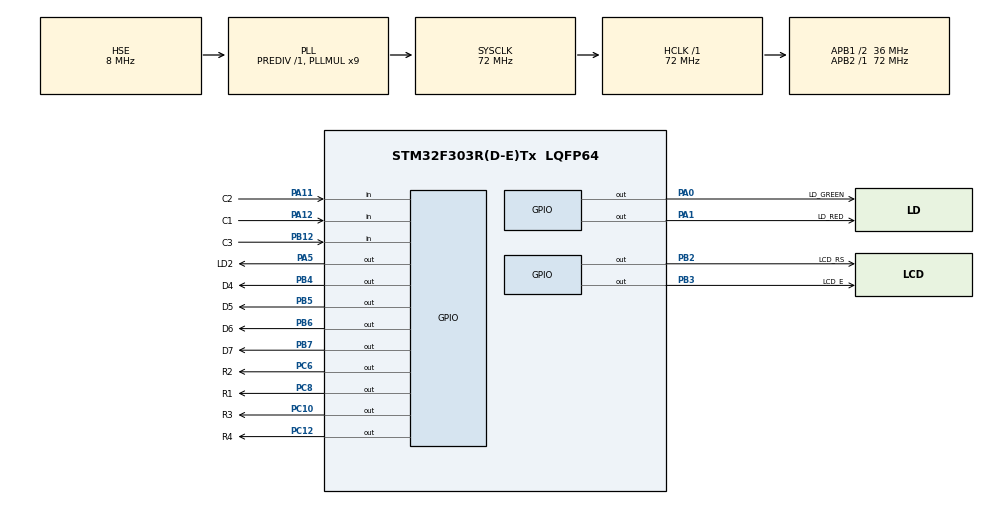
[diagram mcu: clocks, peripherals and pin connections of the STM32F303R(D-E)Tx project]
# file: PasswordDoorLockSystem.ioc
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Mcu.Family=STM32F3
RCC.CortexFreq_Value=72000000
PC10.Signal=GPIO_Output
PC12.Signal=GPIO_Output
RCC.SYSCLKSourceVirtual=RCC_SYSCLKSOURCE_PLLCLK
PA0.GPIO_Label=LD_GREEN
PC6.GPIO_Label=R2
PB6.GPIO_Label=D6
PC10.GPIO_Speed=GPIO_SPEED_FREQ_HIGH
PA11.GPIO_PuPd=GPIO_PULLDOWN
ProjectManager.StackSize=0x400
PA12.Signal=GPIO_Input
RCC.HCLKFreq_Value=72000000
RCC.APB2TimFreq_Value=72000000
PB6.Signal=GPIO_Output
PB5.PinState=GPIO_PIN_SET
RCC.AHBFreq_Value=72000000
RCC.HSE_VALUE=8000000
PB2.Signal=GPIO_Output
RCC.RCC_PLLsource_Clock_Source_FROM_HSE=RCC_HSE_PREDIV_DIV2
RCC.PLLMUL=RCC_PLL_MUL9
PB12.GPIO_Label=C3
PA14.Mode=Serial_Wire
PB7.Signal=GPIO_Output
PA0.Signal=GPIO_Output
PB7.PinState=GPIO_PIN_SET
PB7.GPIO_Label=D7
PC10.GPIO_ModeDefaultOutputPP=GPIO_MODE_OUTPUT_OD
Mcu.Package=LQFP64
RCC.EnbaleCSS=true
PC8.GPIO_ModeDefaultOutputPP=GPIO_MODE_OUTPUT_OD
PC8.GPIO_Speed=GPIO_SPEED_FREQ_HIGH
PB5.GPIO_Label=D5
RCC.APB1TimFreq_Value=72000000
PC12.GPIO_PuPd=GPIO_NOPULL
PA12.GPIO_PuPd=GPIO_PULLDOWN
PF1-OSC_OUT.Mode=HSE-External-Oscillator
PB4.PinState=GPIO_PIN_SET
PC6.GPIO_Speed=GPIO_SPEED_FREQ_HIGH
PF1-OSC_OUT.Signal=RCC_OSC_OUT
PC6.GPIO_ModeDefaultOutputPP=GPIO_MODE_OUTPUT_OD
PB4.Signal=GPIO_Output
PB3.GPIO_Label=LCD_E
RCC.PLLSourceVirtual=RCC_PLLSOURCE_HSE
PC10.GPIO_Label=R3
PC8.Signal=GPIO_Output
PC6.Signal=GPIO_Output
PA11.GPIO_Label=C2
PC12.GPIO_ModeDefaultOutputPP=GPIO_MODE_OUTPUT_OD
RCC.APB1CLKDivider=RCC_HCLK_DIV2
PA12.GPIO_Label=C1
PC8.GPIO_Label=R1
PA13.Signal=SYS_JTMS-SWDIO
ProjectManager.TargetToolchain=STM32CubeIDE
RCC.USBFreq_Value=72000000
RCC.LSE_VALUE=32768
PA1.Signal=GPIO_Output
PF0-OSC_IN.Mode=HSE-External-Oscillator
PA5.Signal=GPIO_Output
board=NUCLEO-F303RE
RCC.APB2Freq_Value=72000000
PB4.GPIO_Label=D4
PA1.GPIO_Label=LD_RED
PA13.Mode=Serial_Wire
Mcu.Name=STM32F303R(D-E)Tx
PB3.Signal=GPIO_Output
RCC.SYSCLKFreq_VALUE=72000000
PB5.Signal=GPIO_Output
PA5.GPIO_Label=LD2
PC12.GPIO_Label=R4
PB6.PinState=GPIO_PIN_SET
PA11.Signal=GPIO_Input
PA14.Signal=SYS_JTCK-SWCLK
PB2.GPIO_Label=LCD_RS
ProjectManager.HeapSize=0x200
RCC.HSI_VALUE=8000000
RCC.PLLP=RCC_PLLP_DIV4
RCC.PLLQ=7
NVIC.PriorityGroup=NVIC_PRIORITYGROUP_0
RCC.PLLM=8
RCC.PLLN=336
PF0-OSC_IN.Signal=RCC_OSC_IN
PB12.GPIO_PuPd=GPIO_PULLDOWN
RCC.APB1Freq_Value=36000000
PC12.GPIO_Speed=GPIO_SPEED_FREQ_HIGH
PB12.Signal=GPIO_Input

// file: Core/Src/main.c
/* USER CODE BEGIN Header */
/**
  ******************************************************************************
  * @file           : main.c
  * @brief          : Main program body
  ******************************************************************************
  * @attention
  *
  * <h2><center>&copy; Copyright (c) 2021 STMicroelectronics.
  * All rights reserved.</center></h2>
  *
  * This software component is licensed by ST under BSD 3-Clause license,
  * the "License"; You may not use this file except in compliance with the
  * License. You may obtain a copy of the License at:
  *                        opensource.org/licenses/BSD-3-Clause
  *
  ******************************************************************************
  */
/* USER CODE END Header */
#include "main.h"

/* USER CODE BEGIN Includes */
#include "stdio.h"
#include "stdlib.h"
#include "string.h"
/* USER CODE END Includes */

/* USER CODE BEGIN PD */

//Memory address that contains password & door lock state data
#define memory_address 0x0801FC00 //STM32303RE - Page 127

/* USER CODE END PD */

void SystemClock_Config(void);
static void MX_GPIO_Init(void);
/* USER CODE BEGIN PFP */

//8µs Delay Function
void delay_us ();

//LCD Functions
void InitLCD(void);
void lcd_init_write(unsigned char value);
void epulse(void);
void lcd_cmd(unsigned char cmd);
void lcd_write_data (char c);
void lcd_data(unsigned char row, unsigned char col, const char *data);

char keypad_scanner(void);

//Memory Operation Functions
void Flash_Erase(uint32_t address);
void Flash_Write(uint32_t address, uint16_t data);
uint16_t Flash_Read(uint32_t address);

/* USER CODE END PFP */

int main(void)
{

  /* MCU Configuration--------------------------------------------------------*/

  /* Reset of all peripherals, Initializes the Flash interface and the Systick. */
  HAL_Init();

  /* Configure the system clock */
  SystemClock_Config();

  /* Initialize all configured peripherals */
  MX_GPIO_Init();

  /* USER CODE BEGIN 2 */

  /* Variables */

  int door_state;
  int counter = 0;
  int pass_check = 0;
  int operation_check = 0;

  char key;
  char password [4];
  char password_temp[4];
  char* key_temp;

  uint16_t memory_data;

  InitLCD(); //LCD Initialization

  /* Starting Messages */

  lcd_data(1, 1, " PASSWORD  DOOR ");
  lcd_data(2, 1, " LOCK SYSTEM ");

  HAL_Delay(1000);

  lcd_data(1, 1, "  YETKIN AKYUZ  ");
  lcd_data(2, 1, "yetkinakyuz.com ");

  HAL_Delay(1000);

  lcd_data(1, 1, "                ");
  lcd_data(2, 1, "                ");

  HAL_Delay(500);

  /* First use check */

  //Get data from 0x0801FC08. This address contains door lock state data.
  memory_data = Flash_Read(memory_address + 8);
  door_state = memory_data;

  //If the memory address is empty (0xFFFF), the system is using for first time.
  //Defining a password is required.
  //This process works only once.
  if (door_state == 0xFFFF)
  {
	  while (1)
	  {
		  lcd_data(1, 1, "DEFINE YOUR ");
		  lcd_data(2, 1, "PASSWORD: ");

		  counter = 0;

		  while(1)
		  {
			  key = keypad_scanner(); //Get char from keypad.

			  //Write keypad inputs to password_temp variable until there are 4 character inputs from keypad.
			  if (counter <= 3 && key != 'n' && key != '#' && key != '*')
			  {
				  key_temp = key;
				  password_temp[counter] = key;

				  lcd_data(2, 11 + counter, &key_temp);
				  HAL_Delay(200);
				  lcd_data(2, 11 + counter, "*");

				  counter++;
			  }

			  //If input length is 4 and pressed the # button
			  else if (counter > 3 && key == '#')
			  {
				  counter = 0;

				  //Erase memory
				  Flash_Erase(memory_address);

				  //Write defined password to memory
				  for (int i = 0; i < 4; i++)
				  {
					  memory_data = (uint16_t *)password_temp[i];

					  Flash_Write(memory_address + i * 2, memory_data);
					  memory_data = Flash_Read(memory_address + i * 2);
					  password [i] = memory_data;
				  }

				  //Write door lock state to memory: (10) Door is open, (20) Door is locked.
				  Flash_Write(memory_address + 8, 10);

				  /* Done! */

				  HAL_GPIO_WritePin(GPIOA, LD_GREEN_Pin, 1);

				  lcd_data(1, 1, " DONE ");
				  lcd_data(2, 1, "PASSWORD: ");

				  //Print defined password, wait a second, print **** instead of the password.
				  for (int i = 0; i < 4; i++)
				  {
					  key_temp = password[i];
					  lcd_data(2, 11 + i, &key_temp);
				  }

				  HAL_Delay(1000);

				  for (int i = 0; i < 4; i++)
				  {
					  lcd_data(2, 11 + i, "*");
				  }

				  HAL_Delay(200);

				  HAL_GPIO_WritePin(GPIOA, LD_GREEN_Pin, 0);

				  break;
			  }
		  }

		  break;
	  }
  }

  /* USER CODE END 2 */

  /* Infinite loop */
  /* USER CODE BEGIN WHILE */
  while (1)
  {
	  lcd_data(1, 1, "                ");
	  lcd_data(2, 1, "                ");

	  /* If door is locked: (10) Door is open, (20) Door is locked. */

	  while (Flash_Read(memory_address + 8) == 20)
	  {
		  lcd_data(1, 1, "STATUS: LOCKED ");
		  lcd_data(2, 1, "PRESS ANY BUTTON");

		  //Wait till when any key on keypad is pressed.
		  while (keypad_scanner() == 'n');

		  //Till when door is opened.
		  while(Flash_Read(memory_address + 8) == 20)
		  {
			  lcd_data(1, 1, "STATUS: LOCKED ");
			  lcd_data(2, 1, "PASSWORD: ");
			  lcd_data(2, 10, " ");

			  while(1)
			  {
				  key = keypad_scanner(); //Get char from keypad.

				  if (counter <= 3 && key != '*' && key != '#' && key != 'n')
				  {
					  key_temp = key;

					  lcd_data(2, 11 + counter, &key_temp);

					  HAL_Delay(200);

					  lcd_data(2, 11 + counter, "*");

					  password_temp[counter] = key;

					  counter++;
				  }

				  //Write keypad inputs to password_temp variable until there are 4 character inputs from keypad.
				  else if (counter > 3 && key == '#')
				  {
					  counter = 0;
					  pass_check = 0;

					  //In turn, compare each digit with the password, if the numbers match, increase pass_check by one.
					  for (int i = 0; i < 4; i++)
					  {
						  memory_data = Flash_Read(memory_address + i*2);
						  password[i] = memory_data;

						  if (password[i] == password_temp[i])
						  {
							  pass_check++;
						  }
					  }

					  //Save password data from memory to password_temp due to avoid data loss
					  for (int i = 0; i < 4; i++)
					  {
						  memory_data = Flash_Read(memory_address + i*2);
						  password_temp[i] = memory_data;
					  }

					  //Erase memory
					  Flash_Erase(memory_address);

					  //Write password data from password_temp to memory
					  for (int i = 0; i < 4; i++)
					  {
						  memory_data = (uint16_t *)password_temp[i];
						  Flash_Write(memory_address + i*2, memory_data);
					  }

					  //If the passwords match
					  if (pass_check > 3)
					  {
						  //Write door is open info to memory
						  Flash_Write(memory_address + 8, 10);

						  /* Done! */

						  HAL_GPIO_WritePin(GPIOA, LD_GREEN_Pin, 1);

						  lcd_data(1, 1, " PASSWORD MATCH ");
						  lcd_data(2, 1, " OPENING DOOR ");

						  HAL_Delay(1500);

						  HAL_GPIO_WritePin(GPIOA, LD_GREEN_Pin, 0);

						  break;
					  }

					  //If the passwords do not match
					  else
					  {
						  Flash_Write(memory_address + 8, 20);

						  HAL_GPIO_WritePin(GPIOA, LD_RED_Pin, GPIO_PIN_SET);

						  lcd_data(1, 1, " WRONG PASSWORD ");
						  lcd_data(2, 1, " ACCESS DENIED ");

						  HAL_Delay(1000);

						  HAL_GPIO_WritePin(GPIOA, LD_RED_Pin, GPIO_PIN_RESET);

						  break;
					  }
				  }

				  //If * key is pressed, clean the password field.
				  else if (key == '*')
				  {
					  counter = 0;

					  break;
				  }
			  }
	  	  }
	  }

	  /* If door is open: (10) Door is open, (20) Door is locked. */

	  while (Flash_Read(memory_address + 8) == 10)
	  {
		  key = keypad_scanner(); //Get char from keypad.

		  //If # button is pressed, Lock the door selection.
		  if (key == '#')
		  {
			  counter = 0;
			  operation_check = 0;

			  lcd_data(1, 1, "               ");
			  lcd_data(2, 1, "               ");

			  while(!operation_check)
			  {
				  lcd_data(1, 1, "LOCK THE DOOR   ");
				  lcd_data(2, 1, "PASSWORD: ");

				  /* Password Check */

				  if (counter <= 3 && key != '*' && key != '#' && key != 'n')
				  {
					  key_temp = key;
					  password_temp[counter] = key;

					  lcd_data(2, 11 + counter, &key_temp);

					  HAL_Delay(200);

					  lcd_data(2, 11 + counter, "*");

					  password_temp[counter] = key;

					  counter++;
				  }

				  else if (counter > 3 && key == '#')
				  {
					  counter = 0;
					  pass_check = 0;

					  for (int i = 0; i < 4; i++)
					  {
						  memory_data = Flash_Read(memory_address + i*2);
						  password[i] = memory_data;

						  if (password[i] == password_temp[i])
						  {
							  pass_check++;
						  }
					  }

					  for (int i = 0; i < 4; i++)
					  {
						  memory_data = Flash_Read(memory_address + i*2);
						  password_temp[i] = memory_data;
					  }

					  Flash_Erase(memory_address);

					  for (int i = 0; i < 4; i++)
					  {
						  memory_data = (uint16_t *)password_temp[i];
						  Flash_Write(memory_address + i*2, memory_data);
					  }

					  if (pass_check > 3)
					  {
						  Flash_Write(memory_address + 8, 20);

						  HAL_GPIO_WritePin(GPIOA, LD_GREEN_Pin, 1);

						  lcd_data(1, 1, " PASSWORD MATCH ");
						  lcd_data(2, 1, "  LOCKING DOOR  ");

						  HAL_Delay(1500);

						  HAL_GPIO_WritePin(GPIOA, LD_GREEN_Pin, 0);

						  operation_check = 1;
					  }

					  else
					  {
						  Flash_Write(memory_address + 8, 10);

						  HAL_GPIO_WritePin(GPIOA, LD_RED_Pin, 1);

						  lcd_data(1, 1, " WRONG PASSWORD ");
						  lcd_data(2, 1, "                ");

						  HAL_Delay(1000);

						  HAL_GPIO_WritePin(GPIOA, LD_RED_Pin, 0);
					  }
				  }

				  //If * button is pressed, clean password filed, or cancel if password files is empty.
				  else if (key == '*')
				  {
					  if (counter == 0)
					  {
						  lcd_data(1, 1, "OPERATION       ");
						  lcd_data(2, 1, "CANCELLED       ");

						  HAL_Delay(1000);

						  operation_check = 1;
					  }

					  else
					  {
						  counter = 0;

						  lcd_data(2, 1, "PASSWORD:       ");
						  lcd_data(2, 10, " ");
					  }
				  }
			  }
		  }

		  //If * button is pressed, change password selection.
		  else if (key == '*')
		  {
			  counter = 0;
			  operation_check = 0;

			  lcd_data(1, 1, "                ");
			  lcd_data(2, 1, "                ");

			  while(!operation_check)
			  {
				  /* Password Check */

				  lcd_data(1, 1, "OLD             ");
				  lcd_data(2, 1, "PASSWORD:       ");
				  lcd_data(2, 10, " ");

				  key = keypad_scanner();

				  if (counter <= 3 && key != '*' && key != '#' && key != 'n')
				  {
					  key_temp = key;
					  password_temp[counter] = key;

					  lcd_data(2, 11 + counter, &key_temp);
					  HAL_Delay(200);
					  lcd_data(2, 11 + counter, "*");

					  counter++;
				  }

				  else if (counter > 3 && key == '#')
				  {
					  counter = 0;
					  pass_check = 0;

					  for (int i = 0; i < 4; i++)
					  {
						  memory_data = Flash_Read(memory_address + i * 2);
						  password[i] = memory_data;

						  if (password[i] == password_temp[i])
						  {
							  pass_check++;
						  }
					  }

					  for (int i = 0; i < 4; i++)
					  {
						  memory_data = Flash_Read(memory_address + i * 2);
						  password_temp[i] = memory_data;
					  }

					  Flash_Erase(memory_address);

					  for (int i = 0; i < 4; i++)
					  {
						  memory_data = (uint16_t *)password_temp[i];
						  Flash_Write(memory_address + i * 2, memory_data);
					  }

					  Flash_Write(memory_address + 8, 10);

					  if (pass_check > 3)
					  {
						  counter = 0;

						  HAL_GPIO_WritePin(LD_GREEN_GPIO_Port, LD_GREEN_Pin, 1);

						  lcd_data(1, 1, "               ");
						  lcd_data(2, 1, "               ");

						  HAL_Delay(200);

						  HAL_GPIO_WritePin(LD_GREEN_GPIO_Port, LD_GREEN_Pin, 0);

						  /* New password */

						  while (1)
						  {
							  lcd_data(1, 1, "NEW             ");
							  lcd_data(2, 1, "PASSWORD: ");

							  key = keypad_scanner();

							  if (counter<=3 && key!='n' && key!='#' && key!='*')
							  {
								  key_temp = key;
								  password_temp[counter] = key;

								  lcd_data(2, 11 + counter, &key_temp);
								  HAL_Delay(200);
								  lcd_data(2, 11 + counter, "*");

								  counter++;
							  }

							  else if (counter > 3 && key == '#')
							  {
								  counter = 0;

								  //Erase memory
								  Flash_Erase(memory_address);

								  //Write new password to memory
								  for (int i = 0; i < 4; i++)
								  {
									  memory_data = (uint16_t *)password_temp[i];
									  Flash_Write(memory_address+i*2,memory_data);

									  memory_data = Flash_Read(memory_address+i*2);
									  password [i] = memory_data;
								  }

								  //Write door is open info to memory
								  Flash_Write(memory_address + 8, 10);

								  /* Done! */

								  HAL_GPIO_WritePin(GPIOA, LD_GREEN_Pin, 1);

								  lcd_data(1, 1, "      DONE      ");
								  lcd_data(2, 1, "PASSWORD:       ");

								  for (int i = 0; i < 4; i++)
								  {
									  key_temp = password[i];

									  lcd_data(2, 11 + i, &key_temp);
								  }

								  HAL_Delay(1000);

								  for (int i = 0; i < 4; i++)
								  {
									  lcd_data(2, 11 + i, "*");
								  }

								  HAL_Delay(200);

								  HAL_GPIO_WritePin(GPIOA, LD_GREEN_Pin, 0);

								  operation_check = 1;
								  break;
							  }

							  //If * button is pressed, clean password field or cancel
							  else if (key == '*')
							  {
								  if (counter == 0)
								  {
									  lcd_data(1, 1, "OPERATION       ");
									  lcd_data(2, 1, "CANCELLED       ");

									  HAL_Delay(1000);

									  operation_check = 1;
									  break;
								  }

								  else
								  {
									  counter = 0;

									  lcd_data(2, 1, "PASSWORD:       ");
									  lcd_data(2, 10, " ");
								  }
							  }
						  }
					  }
				  }

				  else
				  {
					  counter = 0;

					  HAL_GPIO_WritePin(GPIOA, LD_RED_Pin, 1);

					  lcd_data(1, 1, " WRONG PASSWORD ");
					  lcd_data(2, 1, "                ");

					  HAL_Delay(1000);

					  HAL_GPIO_WritePin(GPIOA, LD_RED_Pin, 0);
				  }
			  }
		  }
		  //If * button is pressed, clean password field or cancel
		  else if (key == '*')
		  {
			  if (counter == 0)
			  {
				  lcd_data(1, 1, "OPERATION       ");
				  lcd_data(2, 1, "CANCELLED       ");

				  HAL_Delay(1000);

				  operation_check = 1;
				  break;
			  }

			  else
			  {
				  counter = 0;

				  lcd_data(2, 1, "PASSWORD:       ");
				  lcd_data(2, 10, " ");
			  }
		  }

		  //Door is open & selection message
		  else
		  {
			  lcd_data(1, 1, "STATUS: OPEN    ");
			  lcd_data(2, 1, "PRESS * OR #    ");
		  }
	  }
    /* USER CODE END WHILE */
  }
}
void SystemClock_Config(void)
{
  RCC_OscInitTypeDef RCC_OscInitStruct = {0};
  RCC_ClkInitTypeDef RCC_ClkInitStruct = {0};

  /** Initializes the RCC Oscillators according to the specified parameters
  * in the RCC_OscInitTypeDef structure.
  */
  RCC_OscInitStruct.OscillatorType = RCC_OSCILLATORTYPE_HSE;
  RCC_OscInitStruct.HSEState = RCC_HSE_ON;
  RCC_OscInitStruct.HSIState = RCC_HSI_ON;
  RCC_OscInitStruct.PLL.PLLState = RCC_PLL_ON;
  RCC_OscInitStruct.PLL.PLLSource = RCC_PLLSOURCE_HSE;
  RCC_OscInitStruct.PLL.PLLMUL = RCC_PLL_MUL9;
  RCC_OscInitStruct.PLL.PREDIV = RCC_PREDIV_DIV1;
  if (HAL_RCC_OscConfig(&RCC_OscInitStruct) != HAL_OK)
  {
    Error_Handler();
  }
  /** Initializes the CPU, AHB and APB buses clocks
  */
  RCC_ClkInitStruct.ClockType = RCC_CLOCKTYPE_HCLK|RCC_CLOCKTYPE_SYSCLK
                              |RCC_CLOCKTYPE_PCLK1|RCC_CLOCKTYPE_PCLK2;
  RCC_ClkInitStruct.SYSCLKSource = RCC_SYSCLKSOURCE_PLLCLK;
  RCC_ClkInitStruct.AHBCLKDivider = RCC_SYSCLK_DIV1;
  RCC_ClkInitStruct.APB1CLKDivider = RCC_HCLK_DIV2;
  RCC_ClkInitStruct.APB2CLKDivider = RCC_HCLK_DIV1;

  if (HAL_RCC_ClockConfig(&RCC_ClkInitStruct, FLASH_LATENCY_2) != HAL_OK)
  {
    Error_Handler();
  }
  /** Enables the Clock Security System
  */
  HAL_RCC_EnableCSS();
}

static void MX_GPIO_Init(void)
{
  GPIO_InitTypeDef GPIO_InitStruct = {0};

  /* GPIO Ports Clock Enable */
  __HAL_RCC_GPIOF_CLK_ENABLE();
  __HAL_RCC_GPIOA_CLK_ENABLE();
  __HAL_RCC_GPIOB_CLK_ENABLE();
  __HAL_RCC_GPIOC_CLK_ENABLE();

  /*Configure GPIO pin Output Level */
    HAL_GPIO_WritePin(GPIOA, LD_GREEN_Pin|LD_RED_Pin|LD2_Pin, GPIO_PIN_RESET);

  /*Configure GPIO pin Output Level */
  HAL_GPIO_WritePin(GPIOB, LCD_RS_Pin|LCD_E_Pin, GPIO_PIN_RESET);

  /*Configure GPIO pin Output Level */
  HAL_GPIO_WritePin(GPIOC, R2_Pin|R1_Pin|R3_Pin|R4_Pin, GPIO_PIN_RESET);

  /*Configure GPIO pin Output Level */
  HAL_GPIO_WritePin(GPIOB, D4_Pin|D5_Pin|D6_Pin|D7_Pin, GPIO_PIN_SET);

  /*Configure GPIO pins : LD_GREEN_Pin LD_RED_Pin LD2_Pin */
  GPIO_InitStruct.Pin = LD_GREEN_Pin|LD_RED_Pin|LD2_Pin;
  GPIO_InitStruct.Mode = GPIO_MODE_OUTPUT_PP;
  GPIO_InitStruct.Pull = GPIO_NOPULL;
  GPIO_InitStruct.Speed = GPIO_SPEED_FREQ_LOW;
  HAL_GPIO_Init(GPIOA, &GPIO_InitStruct);

  /*Configure GPIO pins : LCD_RS_Pin LCD_E_Pin D4_Pin D5_Pin
                           D6_Pin D7_Pin */
  GPIO_InitStruct.Pin = LCD_RS_Pin|LCD_E_Pin|D4_Pin|D5_Pin
                          |D6_Pin|D7_Pin;
  GPIO_InitStruct.Mode = GPIO_MODE_OUTPUT_PP;
  GPIO_InitStruct.Pull = GPIO_NOPULL;
  GPIO_InitStruct.Speed = GPIO_SPEED_FREQ_LOW;
  HAL_GPIO_Init(GPIOB, &GPIO_InitStruct);

  /*Configure GPIO pin : C3_Pin */
  GPIO_InitStruct.Pin = C3_Pin;
  GPIO_InitStruct.Mode = GPIO_MODE_INPUT;
  GPIO_InitStruct.Pull = GPIO_PULLUP;
  HAL_GPIO_Init(C3_GPIO_Port, &GPIO_InitStruct);

  /*Configure GPIO pins : R2_Pin R1_Pin R3_Pin R4_Pin */
  GPIO_InitStruct.Pin = R2_Pin|R1_Pin|R3_Pin|R4_Pin;
  GPIO_InitStruct.Mode = GPIO_MODE_OUTPUT_OD;
  GPIO_InitStruct.Pull = GPIO_NOPULL;
  GPIO_InitStruct.Speed = GPIO_SPEED_FREQ_HIGH;
  HAL_GPIO_Init(GPIOC, &GPIO_InitStruct);

  /*Configure GPIO pins : C2_Pin C1_Pin */
  GPIO_InitStruct.Pin = C2_Pin|C1_Pin;
  GPIO_InitStruct.Mode = GPIO_MODE_INPUT;
  GPIO_InitStruct.Pull = GPIO_PULLUP;
  HAL_GPIO_Init(GPIOA, &GPIO_InitStruct);

}

/* USER CODE BEGIN 4 */

void delay_us ()
{
	unsigned int time=680;
	while (time--);
}

void InitLCD (void)
{
  HAL_Delay (200);
  lcd_init_write(0x30);
  HAL_Delay (10);
  lcd_init_write(0x30);
  HAL_Delay (10);
  lcd_init_write(0x30);
  HAL_Delay (10);
  lcd_init_write(0x20);
  HAL_Delay (10);

  lcd_cmd(0x28);
  lcd_cmd(0x08);
  lcd_cmd(0x01);
  lcd_cmd(0x06);
  lcd_cmd(0x0F);
}

void lcd_init_write(unsigned char value)
{

	HAL_GPIO_WritePin (LCD_RS_GPIO_Port, LCD_RS_Pin,0);
	GPIOB->ODR= (GPIOB->ODR & 0x0F) | (value & 0xF0) ;
	epulse();
	HAL_GPIO_WritePin (LCD_RS_GPIO_Port, LCD_RS_Pin,1);

}

void epulse()
{
	HAL_GPIO_WritePin (LCD_E_GPIO_Port, LCD_E_Pin,1);
	delay_us();
	HAL_GPIO_WritePin (LCD_E_GPIO_Port, LCD_E_Pin,0);
	delay_us();
}

void lcd_cmd(unsigned char cmd)
{
	HAL_GPIO_WritePin (LCD_RS_GPIO_Port, LCD_RS_Pin,0);
	GPIOB->ODR= (GPIOB->ODR & 0x0F) | (cmd & 0xF0);
	epulse();
	GPIOB->ODR = (GPIOB->ODR & 0x0f) | (cmd<<4);
	epulse();
	HAL_GPIO_WritePin (LCD_RS_GPIO_Port, LCD_RS_Pin,1);

	HAL_Delay(0.0001);
}
void lcd_write_data (char c)
{
	HAL_GPIO_WritePin (LCD_RS_GPIO_Port, LCD_RS_Pin,1);
	GPIOB->ODR = (GPIOB->ODR & 0x0f) | (c & 0xf0);
	epulse();
	GPIOB->ODR = (GPIOB->ODR & 0x0f) | (c << 4);
	epulse();
	HAL_GPIO_WritePin (LCD_RS_GPIO_Port, LCD_RS_Pin,0);
}

void lcd_data(unsigned char row, unsigned char col, const char *data)
{
	char temp;

	switch(row)
	{
		case 1:
			temp = col - 1 + 0x80;
			break;
		case 2:
			temp = col - 1 + 0xC0;
			break;
	}

	lcd_cmd(temp);

	do
	{
		lcd_write_data(*data++);

	}while(*data);
}

char keypad_scanner(void)
{
	HAL_GPIO_WritePin(R1_GPIO_Port, R1_Pin, 0);
	HAL_GPIO_WritePin(R2_GPIO_Port, R2_Pin, 1);
	HAL_GPIO_WritePin(R3_GPIO_Port, R3_Pin, 1);
	HAL_GPIO_WritePin(R4_GPIO_Port, R4_Pin, 1);

	if (HAL_GPIO_ReadPin(C1_GPIO_Port, C1_Pin)==0)
	{
		while (HAL_GPIO_ReadPin(C1_GPIO_Port, C1_Pin)==0);

		return '1';
	}

	else if (HAL_GPIO_ReadPin(C2_GPIO_Port, C2_Pin)==0)
	{
		while (HAL_GPIO_ReadPin(C2_GPIO_Port, C2_Pin)==0);

		return '2';
	}

	else if (HAL_GPIO_ReadPin(C3_GPIO_Port, C3_Pin)==0)
	{
		while (HAL_GPIO_ReadPin(C3_GPIO_Port, C3_Pin)==0);

		return '3';
	}

	HAL_GPIO_WritePin(R1_GPIO_Port, R1_Pin, 1);
	HAL_GPIO_WritePin(R2_GPIO_Port, R2_Pin, 0);
	HAL_GPIO_WritePin(R3_GPIO_Port, R3_Pin, 1);
	HAL_GPIO_WritePin(R4_GPIO_Port, R4_Pin, 1);

	if (HAL_GPIO_ReadPin(C1_GPIO_Port, C1_Pin)==0)
	{
		HAL_Delay(50);
		while (HAL_GPIO_ReadPin(C1_GPIO_Port, C1_Pin)==0);

		return '4';
	}

	else if (HAL_GPIO_ReadPin(C2_GPIO_Port, C2_Pin)==0)
	{
		while (HAL_GPIO_ReadPin(C2_GPIO_Port, C2_Pin)==0);

		return '5';
	}

	else if (HAL_GPIO_ReadPin(C3_GPIO_Port, C3_Pin)==0)
	{
		while (HAL_GPIO_ReadPin(C3_GPIO_Port, C3_Pin)==0);

		return '6';
	}

	HAL_GPIO_WritePin(R1_GPIO_Port, R1_Pin, 1);
	HAL_GPIO_WritePin(R2_GPIO_Port, R2_Pin, 1);
	HAL_GPIO_WritePin(R3_GPIO_Port, R3_Pin, 0);
	HAL_GPIO_WritePin(R4_GPIO_Port, R4_Pin, 1);

	if (HAL_GPIO_ReadPin(C1_GPIO_Port, C1_Pin)==0)
	{
		while (HAL_GPIO_ReadPin(C1_GPIO_Port, C1_Pin)==0);

		return '7';
	}

	else if (HAL_GPIO_ReadPin(C2_GPIO_Port, C2_Pin)==0)
	{
		while (HAL_GPIO_ReadPin(C2_GPIO_Port, C2_Pin)==0);

		return '8';
	}

	else if (HAL_GPIO_ReadPin(C3_GPIO_Port, C3_Pin)==0)
	{
		while (HAL_GPIO_ReadPin(C3_GPIO_Port, C3_Pin)==0);

		return '9';
	}

	HAL_GPIO_WritePin(R1_GPIO_Port, R1_Pin, 1);
	HAL_GPIO_WritePin(R2_GPIO_Port, R2_Pin, 1);
	HAL_GPIO_WritePin(R3_GPIO_Port, R3_Pin, 1);
	HAL_GPIO_WritePin(R4_GPIO_Port, R4_Pin, 0);

	if (HAL_GPIO_ReadPin(C1_GPIO_Port, C1_Pin)==0)
	{
		while (HAL_GPIO_ReadPin(C1_GPIO_Port, C1_Pin)==0);

		return '*';
	}

	else if (HAL_GPIO_ReadPin(C2_GPIO_Port, C2_Pin)==0)
	{
		while (HAL_GPIO_ReadPin(C2_GPIO_Port, C2_Pin)==0);

		return '0';
	}

	else if (HAL_GPIO_ReadPin(C3_GPIO_Port, C3_Pin)==0)
	{
		while (HAL_GPIO_ReadPin(C3_GPIO_Port, C3_Pin)==0);

		return '#';
	}

	return 'n';
}

void Flash_Erase(uint32_t address)
{
	FLASH->KEYR=0x45670123;
	FLASH->KEYR=0xCDEF89AB;
	FLASH->CR|=0x00000002;
	FLASH->AR=address;
	FLASH->CR|=0x00000040;
	while((FLASH->SR&0x00000001));
	FLASH->CR &= ~0x00000042;
	FLASH->CR=0x00000080;
}

void Flash_Write(uint32_t address, uint16_t data)
{
	FLASH->KEYR=0x45670123;
	FLASH->KEYR=0xCDEF89AB;
	FLASH->CR|=0x00000001;
	*(__IO uint16_t*)address = data;
	while((FLASH->SR&0x00000001));
	FLASH->CR=0x00000080;
}

uint16_t Flash_Read(uint32_t address)
{
	uint16_t * temp = (uint16_t *)address;
	return(*temp);
}

/* USER CODE END 4 */

void Error_Handler(void)
{
  __disable_irq();
  while (1)
  {
  }
}

/************************ (C) COPYRIGHT STMicroelectronics *****END OF FILE****/
